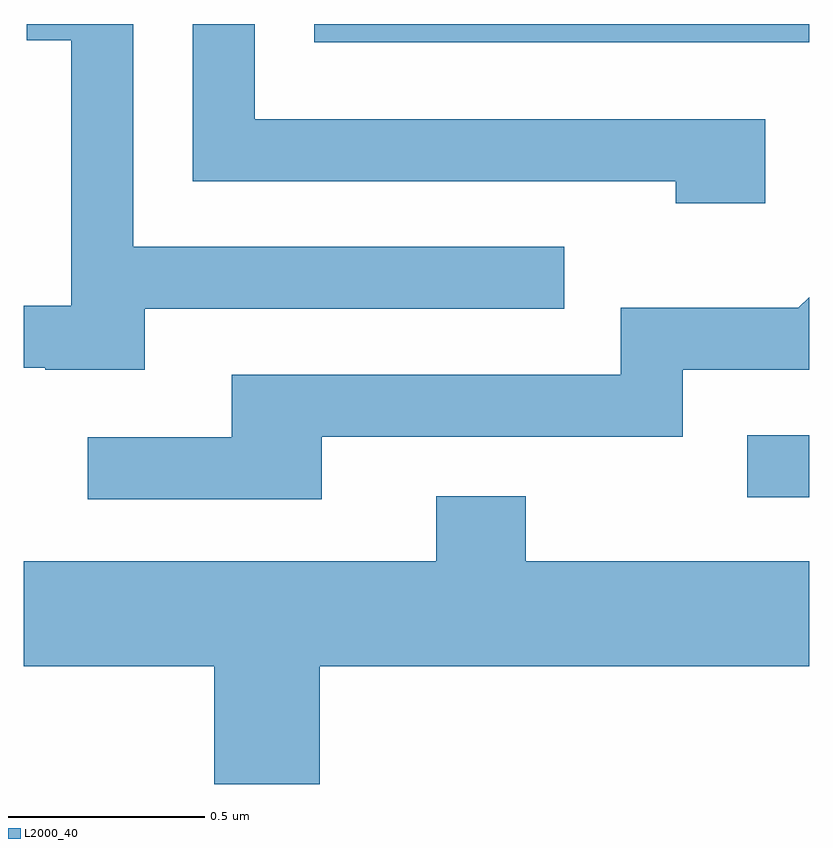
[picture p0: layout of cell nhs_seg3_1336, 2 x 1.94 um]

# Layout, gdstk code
import gdstk
lib = gdstk.Library(unit=1e-6, precision=1e-09)
def R(c, l, rs):  # rectangles x0, y0, x1, y1
    for r in rs: c.add(gdstk.rectangle(r[:2], r[2:], *l))
def P(c, l, *ps):  # polygons
    for p in ps: c.add(gdstk.Polygon(p, *l))
L2000_40 = (2000, 40)

nhs_seg3_1336 = lib.new_cell('nhs_seg3_1336')
R(nhs_seg3_1336, L2000_40, [(196.453,1219.686,196.611,1219.844), (195.351,1220.846,196.611,1220.892)])
P(nhs_seg3_1336, L2000_40, [(194.919,1220.166),(195.988,1220.166),(195.988,1220.324),(194.889,1220.324),(194.889,1220.892),(194.618,1220.892),(194.618,1220.851),(194.731,1220.851),(194.731,1220.174),(194.611,1220.174),(194.611,1220.016),(194.665,1220.016),(194.665,1220.011),(194.919,1220.011)],
  [(196.499,1220.649),(195.199,1220.649),(195.199,1220.892),(195.041,1220.892),(195.041,1220.491),(196.271,1220.491),(196.271,1220.436),(196.499,1220.436)],
  [(195.369,1219.841),(196.289,1219.841),(196.289,1220.011),(196.611,1220.011),(196.611,1220.196),(196.584,1220.169),(196.131,1220.169),(196.131,1219.999),(195.141,1219.999),(195.141,1219.839),(194.773,1219.839),(194.773,1219.681),(195.369,1219.681)],
  [(195.364,1219.256),(196.611,1219.256),(196.611,1219.524),(195.889,1219.524),(195.889,1219.689),(195.661,1219.689),(195.661,1219.524),(194.611,1219.524),(194.611,1219.256),(195.096,1219.256),(195.096,1218.956),(195.364,1218.956)])

lib.write_gds('nhs_seg3_1336.gds')
